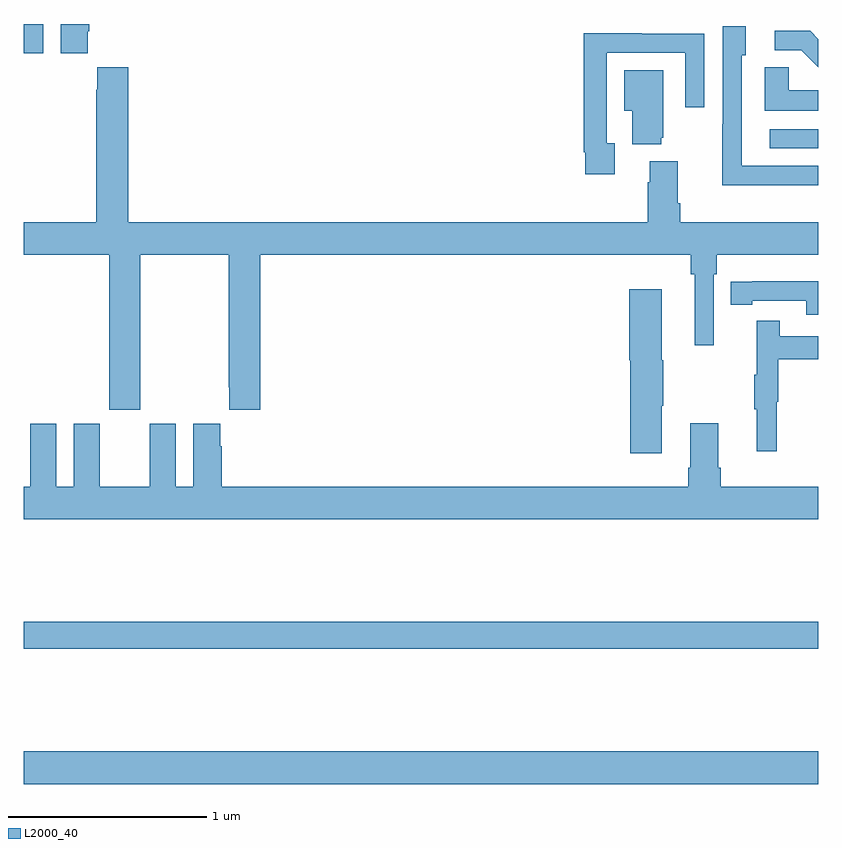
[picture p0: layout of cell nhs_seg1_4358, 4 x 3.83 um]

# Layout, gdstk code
import gdstk
lib = gdstk.Library(unit=1e-6, precision=1e-09)
def R(c, l, rs):  # rectangles x0, y0, x1, y1
    for r in rs: c.add(gdstk.rectangle(r[:2], r[2:], *l))
def P(c, l, *ps):  # polygons
    for p in ps: c.add(gdstk.Polygon(p, *l))
L2000_40 = (2000, 40)

nhs_seg1_4358 = lib.new_cell('nhs_seg1_4358')
R(nhs_seg1_4358, L2000_40, [(347,578.372,351,578.536), (347,579.052,351,579.188), (350.757,581.574,351,581.67), (347,582.051,347.098,582.199)])
P(nhs_seg1_4358, L2000_40, [(347.323,582.163),(347.33,582.163),(347.33,582.199),(347.186,582.199),(347.186,582.051),(347.323,582.051)],
  [(350.981,581.388),(351,581.388),(351,581.484),(350.616,581.484),(350.616,582.042),(350.635,582.042),(350.635,582.187),(350.52,582.187),(350.52,581.693),(350.518,581.693),(350.518,581.387),(350.981,581.387)],
  [(351,582.123),(350.959,582.164),(350.781,582.164),(350.781,582.066),(350.915,582.066),(351,581.981)],
  [(349.975,581.598),(349.935,581.598),(349.935,582.054),(350.331,582.054),(350.331,581.781),(350.427,581.781),(350.427,582.15),(350.111,582.15),(350.111,582.152),(349.819,582.152),(349.819,581.554),(349.827,581.554),(349.827,581.442),(349.975,581.442)],
  [(351,581.866),(350.853,581.866),(350.853,581.981),(350.732,581.981),(350.732,581.762),(351,581.762)],
  [(347.586,581.036),(348.031,581.036),(348.031,580.369),(348.035,580.369),(348.035,580.257),(348.191,580.257),(348.191,581.036),(350.359,581.036),(350.359,580.94),(350.378,580.94),(350.378,580.581),(350.475,580.581),(350.475,580.94),(350.489,580.94),(350.489,581.036),(351,581.036),(351,581.2),(350.306,581.2),(350.306,581.296),(350.293,581.296),(350.293,581.509),(350.153,581.509),(350.153,581.402),(350.141,581.402),(350.141,581.2),(347.525,581.2),(347.525,581.98),(347.369,581.98),(347.369,581.867),(347.365,581.867),(347.365,581.2),(347,581.2),(347,581.036),(347.431,581.036),(347.431,580.257),(347.586,580.257)],
  [(350.21,581.625),(350.221,581.625),(350.221,581.965),(350.024,581.965),(350.024,581.762),(350.063,581.762),(350.063,581.594),(350.21,581.594)],
  [(351,580.903),(350.668,580.903),(350.668,580.902),(350.56,580.902),(350.56,580.786),(350.668,580.786),(350.668,580.806),(350.94,580.806),(350.94,580.734),(351,580.734)],
  [(350.212,580.276),(350.22,580.276),(350.22,580.506),(350.212,580.506),(350.212,580.864),(350.048,580.864),(350.048,580.506),(350.054,580.506),(350.054,580.038),(350.212,580.038)],
  [(350.792,580.296),(350.8,580.296),(350.8,580.51),(351,580.51),(351,580.626),(350.807,580.626),(350.807,580.705),(350.69,580.705),(350.69,580.433),(350.679,580.433),(350.679,580.259),(350.69,580.259),(350.69,580.047),(350.792,580.047)],
  [(351,579.868),(350.51,579.868),(350.51,579.964),(350.497,579.964),(350.497,580.189),(350.357,580.189),(350.357,579.964),(350.345,579.964),(350.345,579.868),(347.996,579.868),(347.996,580.073),(347.989,580.073),(347.989,580.186),(347.852,580.186),(347.852,579.868),(347.764,579.868),(347.764,580.186),(347.633,580.186),(347.633,579.868),(347.383,579.868),(347.383,580.186),(347.252,580.186),(347.252,579.868),(347.164,579.868),(347.164,580.186),(347.033,580.186),(347.033,579.868),(347,579.868),(347,579.704),(351,579.704)])

lib.write_gds('nhs_seg1_4358.gds')
